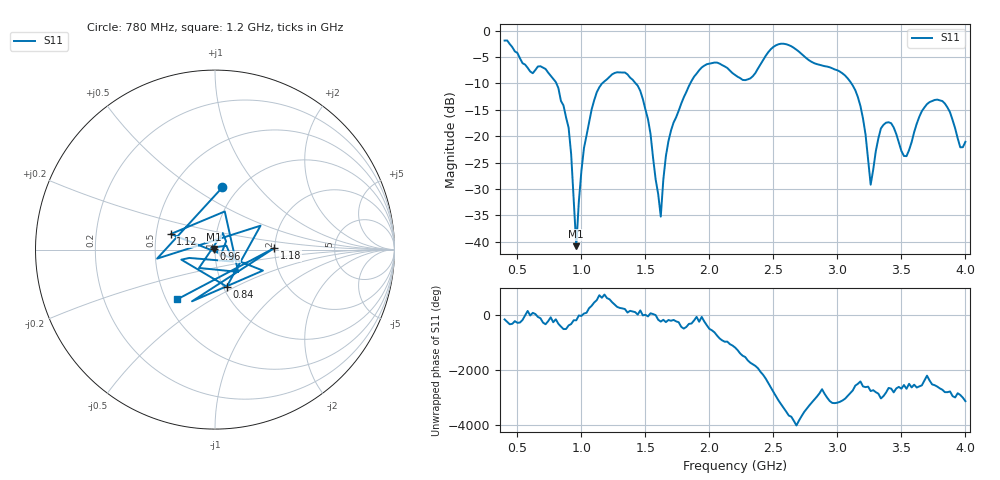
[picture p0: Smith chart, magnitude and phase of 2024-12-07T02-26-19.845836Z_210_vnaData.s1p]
!Created with skrf (http://scikit-rf.org).
# Hz S RI R 50.0
!freq ReS11 ImS11
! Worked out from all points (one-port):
!   181 points, 400 MHz to 4 GHz, reference 50 ohm
!   lowest |S11| = -40.9 dB at 960 MHz (marker M1), VSWR 1.02, Z = 49.2 + j0.412 ohm
!   |S11| at or under -10 dB: 804.9 MHz to 1.161 GHz (356.3 MHz wide, 36.2 % of centre); 1.425 GHz to 1.85 GHz (425.7 MHz wide, 26 % of centre); 3.11 GHz to end of sweep
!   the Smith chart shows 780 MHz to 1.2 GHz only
!   S11 on the Smith chart (normalised r, x): 780 MHz: 0.84, +0.67; 840 MHz: 1.04, -0.45; 960 MHz: 0.98, +0.01; 1.12 GHz: 0.60, +0.11; 1.18 GHz: 1.99, +0.04; 1.2 GHz: 0.57, -0.36
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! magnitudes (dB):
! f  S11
! 400 MHz  -1.9
! 780 MHz  -9.1
! 840 MHz  -13.3
! 860 MHz  -14.2
! 920 MHz  -23.5
! 960 MHz  -40.9
! 1.02 GHz  -22.3
! 1.12 GHz  -11.7
! 1.18 GHz  -9.6
! 1.2 GHz  -9.2
! 1.3 GHz  -7.9
! 1.48 GHz  -13.0
! 1.54 GHz  -19.6
! 1.62 GHz  -35.3
! 1.66 GHz  -23.8
! 1.76 GHz  -15.2
! 1.96 GHz  -6.6
! 2.2 GHz  -8.4
! 2.66 GHz  -3.2
! 3.1 GHz  -9.6
! 3.2 GHz  -16.6
! 3.26 GHz  -29.2
! 3.36 GHz  -17.8
! 3.56 GHz  -22.6
! 3.66 GHz  -15.2
! 3.78 GHz  -13.1
! 3.96 GHz  -22.1
! 4 GHz  -21.1
